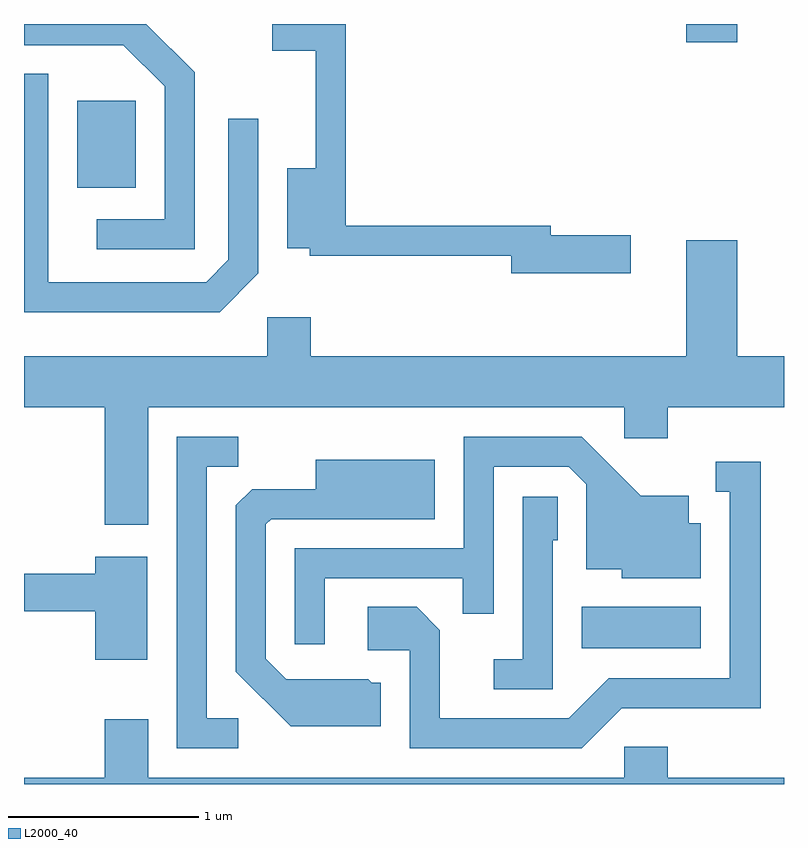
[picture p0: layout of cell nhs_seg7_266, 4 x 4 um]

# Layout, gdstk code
import gdstk
lib = gdstk.Library(unit=1e-6, precision=1e-09)
def R(c, l, rs):  # rectangles x0, y0, x1, y1
    for r in rs: c.add(gdstk.rectangle(r[:2], r[2:], *l))
def P(c, l, *ps):  # polygons
    for p in ps: c.add(gdstk.Polygon(p, *l))
L2000_40 = (2000, 40)

nhs_seg7_266 = lib.new_cell('nhs_seg7_266')
R(nhs_seg7_266, L2000_40, [(194.546,1792.966,195.174,1793.184), (191.891,1795.391,192.199,1795.849), (195.096,1796.156,195.364,1796.252)])
P(nhs_seg7_266, L2000_40, [(192.509,1795.997),(192.254,1796.252),(191.611,1796.252),(191.611,1796.141),(192.134,1796.141),(192.351,1795.924),(192.351,1795.224),(191.993,1795.224),(191.993,1795.066),(192.509,1795.066)],
  [(194.804,1795.139),(194.384,1795.139),(194.384,1795.189),(193.304,1795.189),(193.304,1796.252),(192.918,1796.252),(192.918,1796.111),(193.146,1796.111),(193.146,1795.494),(192.996,1795.494),(192.996,1795.071),(193.116,1795.071),(193.116,1795.031),(194.176,1795.031),(194.176,1794.941),(194.804,1794.941)],
  [(192.844,1794.939),(192.844,1795.753),(192.686,1795.753),(192.686,1795.012),(192.569,1794.894),(191.739,1794.894),(191.739,1795.989),(191.611,1795.989),(191.611,1794.736),(192.642,1794.736)],
  [(192.264,1794.236),(194.771,1794.236),(194.771,1794.071),(194.999,1794.071),(194.999,1794.236),(195.611,1794.236),(195.611,1794.504),(195.364,1794.504),(195.364,1795.114),(195.096,1795.114),(195.096,1794.504),(193.119,1794.504),(193.119,1794.709),(192.891,1794.709),(192.891,1794.504),(191.611,1794.504),(191.611,1794.236),(192.036,1794.236),(192.036,1793.616),(192.264,1793.616)],
  [(193.194,1793.336),(193.921,1793.336),(193.921,1793.148),(194.084,1793.148),(194.084,1793.921),(194.479,1793.921),(194.571,1793.829),(194.571,1793.381),(194.756,1793.381),(194.756,1793.336),(195.174,1793.336),(195.174,1793.624),(195.109,1793.624),(195.109,1793.769),(194.857,1793.769),(194.547,1794.079),(193.926,1794.079),(193.926,1793.494),(193.036,1793.494),(193.036,1792.988),(193.194,1792.988)],
  [(192.738,1792.599),(192.574,1792.599),(192.574,1793.921),(192.738,1793.921),(192.738,1794.079),(192.416,1794.079),(192.416,1792.441),(192.738,1792.441)],
  [(193.489,1792.784),(193.442,1792.784),(193.422,1792.804),(192.992,1792.804),(192.884,1792.912),(192.884,1793.619),(192.912,1793.646),(193.774,1793.646),(193.774,1793.959),(193.146,1793.959),(193.146,1793.804),(192.812,1793.804),(192.726,1793.719),(192.726,1792.844),(193.014,1792.556),(193.489,1792.556)],
  [(194.757,1792.651),(195.489,1792.651),(195.489,1793.949),(195.253,1793.949),(195.253,1793.791),(195.326,1793.791),(195.326,1792.809),(194.689,1792.809),(194.479,1792.599),(193.799,1792.599),(193.799,1793.062),(193.677,1793.184),(193.421,1793.184),(193.421,1792.956),(193.641,1792.956),(193.641,1792.441),(194.547,1792.441)],
  [(194.394,1793.536),(194.419,1793.536),(194.419,1793.764),(194.236,1793.764),(194.236,1792.909),(194.083,1792.909),(194.083,1792.751),(194.394,1792.751)],
  [(192.259,1793.449),(191.986,1793.449),(191.986,1793.359),(191.611,1793.359),(191.611,1793.161),(191.986,1793.161),(191.986,1792.906),(192.259,1792.906)],
  [(195.611,1792.284),(194.999,1792.284),(194.999,1792.449),(194.771,1792.449),(194.771,1792.284),(192.264,1792.284),(192.264,1792.594),(192.036,1792.594),(192.036,1792.284),(191.611,1792.284),(191.611,1792.252),(195.611,1792.252)])

lib.write_gds('nhs_seg7_266.gds')
